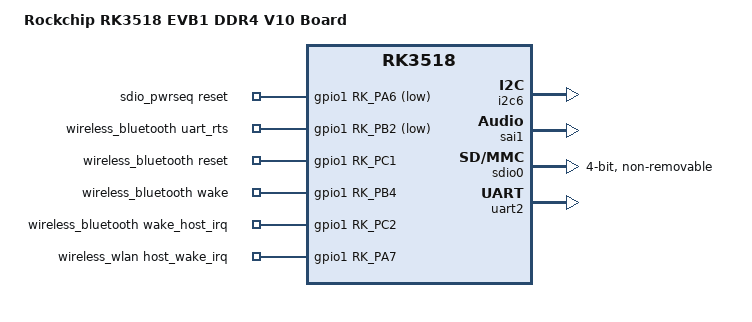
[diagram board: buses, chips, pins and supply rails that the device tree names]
// SPDX-License-Identifier: (GPL-2.0+ OR MIT)
/*
 * Copyright (c) 2025 Rockchip Electronics Co., Ltd.
 *
 */

/dts-v1/;

#include "rk3518.dtsi"
#include "rk3518-evb.dtsi"

/ {
	model = "Rockchip RK3518 EVB1 DDR4 V10 Board";
	compatible = "rockchip,rk3518-evb1-ddr4-v10", "rockchip,rk3518";

	sdio_pwrseq: sdio-pwrseq {
		compatible = "mmc-pwrseq-simple";
		pinctrl-names = "default";
		pinctrl-0 = <&wifi_enable_h &clkm1_32k_out>;
		post-power-on-delay-ms = <200>;
		reset-gpios = <&gpio1 RK_PA6 GPIO_ACTIVE_LOW>;
		status = "okay";
	};

	wireless_bluetooth: wireless-bluetooth {
		compatible = "bluetooth-platdata";
		bt_port = "/dev/ttyS2";
		//wifi-bt-power-toggle;
		uart_rts_gpios = <&gpio1 RK_PB2 GPIO_ACTIVE_LOW>;
		pinctrl-names = "default", "rts_gpio";
		pinctrl-0 = <&uart2m1_rtsn>;
		pinctrl-1 = <&uart2m1_gpios>;
		BT,reset_gpio    = <&gpio1 RK_PC1 GPIO_ACTIVE_HIGH>;
		BT,wake_gpio     = <&gpio1 RK_PB4 GPIO_ACTIVE_HIGH>;
		BT,wake_host_irq = <&gpio1 RK_PC2 GPIO_ACTIVE_HIGH>;
		status = "okay";
	};

	wireless_wlan: wireless-wlan {
		compatible = "wlan-platdata";
		rockchip,grf = <&grf>;
		wifi_chip_type = "ap6275s";
		pinctrl-names = "default";
		pinctrl-0 = <&wifi_host_wake_irq>;
		WIFI,host_wake_irq = <&gpio1 RK_PA7 GPIO_ACTIVE_HIGH>;
		status = "okay";
	};

};

&es7243_sound {
	status = "disabled";
};

&i2c6 {
	status = "okay";
};

&sai1 {
	status = "okay";
};

&sdio0 {
	max-frequency = <200000000>;
	no-sd;
	no-mmc;
	supports-sdio;
	bus-width = <4>;
	disable-wp;
	cap-sd-highspeed;
	cap-sdio-irq;
	keep-power-in-suspend;
	non-removable;
	mmc-pwrseq = <&sdio_pwrseq>;
	pinctrl-names = "default";
	pinctrl-0 = <&sdio0_bus4 &sdio0_cmd &sdio0_clk>;
	sd-uhs-sdr104;
	status = "okay";
};

&uart2 {
	status = "okay";
	pinctrl-names = "default";
	pinctrl-0 = <&uart2m1_xfer &uart2m1_ctsn>;
};

&pinctrl {
	sdio-pwrseq {
		wifi_enable_h: wifi-enable-h {
			rockchip,pins = <1 RK_PA6 RK_FUNC_GPIO &pcfg_pull_none>;
		};

		wifi_32k: wifi-32k {
			rockchip,pins = <1 RK_PC3 1 &pcfg_pull_none>;
		};
	};

	wireless-wlan {
		wifi_host_wake_irq: wifi-host-wake-irq {
			rockchip,pins = <1 RK_PA7 RK_FUNC_GPIO &pcfg_pull_down>;
		};
	};

	wireless-bluetooth {
		uart2m1_gpios: uart2m1-gpios {
			rockchip,pins = <1 RK_PB2 RK_FUNC_GPIO &pcfg_pull_none>;
		};
	};
};
